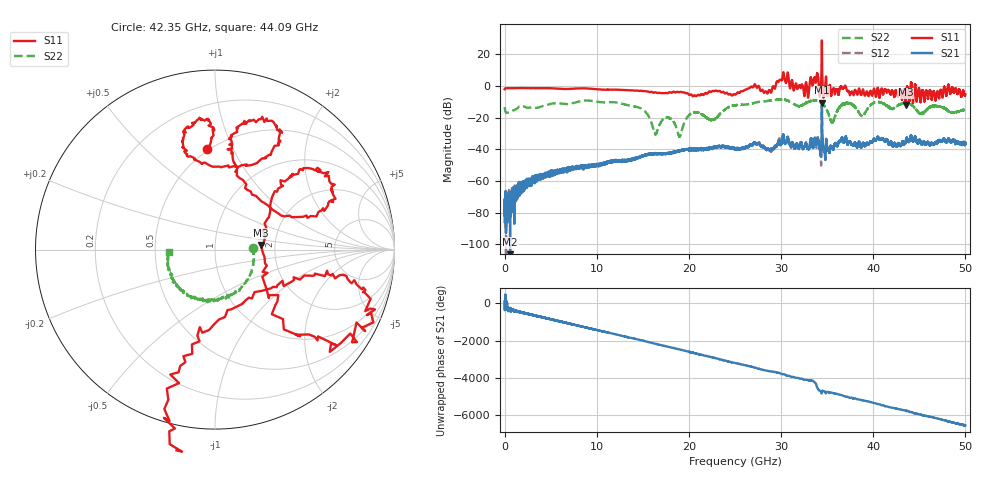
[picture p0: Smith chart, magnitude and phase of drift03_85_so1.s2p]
!Created with skrf (http://scikit-rf.org).
# Hz S RI R 50.0
!freq ReS11 ImS11 ReS21 ImS21 ReS12 ImS12 ReS22 ImS22
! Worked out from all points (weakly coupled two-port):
!   10000 points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, 5.3 MHz to 50 GHz, reference 50 ohm
!   highest |S21| = -10.50 dB at 34.43 GHz (marker M1); lowest = -110.0 dB at 600.3 MHz (marker M2)
!   lowest |S11| = -11.8 dB at 43.52 GHz (marker M3), VSWR 1.69, Z = 84.2 + j4.64 ohm
!   |S11| at or under -10 dB: 43.4844 GHz to 43.54437 GHz (59.97 MHz wide, 0.138 % of centre); 43.54616 GHz to 43.5512 GHz (5.039 MHz wide, 0.0116 % of centre); 44.31154 GHz to 44.31897 GHz (7.429 MHz wide, 0.0168 % of centre) (the widest 3 of 5)
!   |S22| runs from -32.1 to -8.4 dB; largest |S21 - S12| = 0.091
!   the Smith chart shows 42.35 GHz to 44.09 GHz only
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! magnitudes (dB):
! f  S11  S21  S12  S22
! 5.3 MHz  -2.1  -85.9  -83.1  -13.3
! 600.3 MHz  -1.4  -110.0  -73.0  -16.3
! 3.09 GHz  -1.4  -59.9  -58.5  -13.4
! 8.34 GHz  -1.5  -51.6  -51.1  -9.5
! 14.6 GHz  -3.1  -45.0  -44.9  -13.7
! 16.67 GHz  -4.4  -43.0  -42.6  -26.6
! 17.79 GHz  -4.3  -42.5  -42.4  -20.0
! 19 GHz  -3.9  -40.9  -40.9  -32.1
! 20.3 GHz  -5.6  -40.0  -39.9  -17.1
! 22.62 GHz  -3.0  -38.7  -39.1  -21.3
! 25.01 GHz  -5.5  -39.9  -39.6  -12.2
! 28.72 GHz  -2.5  -40.2  -40.4  -9.3
! 30.14 GHz  4.5  -33.9  -34.1  -8.5
! 32.74 GHz  2.0  -36.6  -36.4  -10.5
! 33.34 GHz  2.6  -34.8  -35.3  -9.3
! 34.43 GHz  28.8  -10.5  -12.8  -10.8
! 35.55 GHz  -2.9  -39.0  -39.1  -23.1
! 36.97 GHz  0.1  -32.7  -32.6  -10.8
! 38.78 GHz  -4.4  -37.8  -37.8  -19.0
! 41.67 GHz  -2.9  -36.9  -36.7  -13.5
! 43.52 GHz  -11.8  -35.3  -35.4  -10.9
! 50 GHz  -5.2  -35.9  -36.0  -15.4
